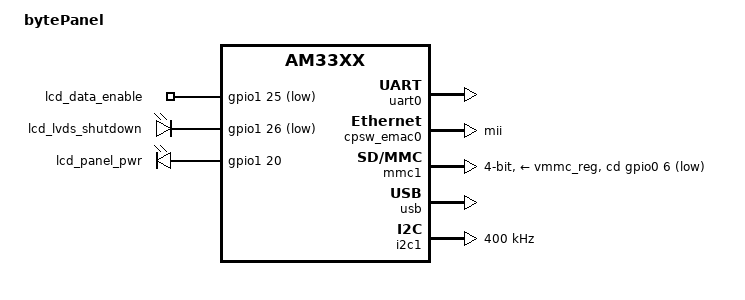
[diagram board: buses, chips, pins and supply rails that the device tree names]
/*
 * Copyright (C) 2015 Bytes at Work - http://www.bytesatwork.ch
 *
 * This program is free software; you can redistribute it and/or modify
 * it under the terms of the GNU General Public License version 2 as
 * published by the Free Software Foundation.
 */

#include "byteengine-m2.dtsi"

/ {
	model = "bytePanel";
	compatible = "batw,bytepanel", "batw,m2", "ti,am33xx";

	// ---- Backlight for all displays on X11, X12, X13 ----
	backlight: backlight {
		compatible = "pwm-backlight";
		status = "disabled";
		pwms = <&ecap0 0 50000 0>;
		brightness-levels = <0 4 8 16 32 64 128 255>;
		default-brightness-level = <6>;
		enable-gpios = <&gpio1 27 0>;
	};

	// FIXME: set pins not as LED; use a muxer or so
	dispconf {
		compatible = "gpio-leds";
		status = "okay";
		pinctrl-names = "default";
		pinctrl-0 = <&display_pins>;

		lcd_data_enable: lcd_data_enable {
			gpios = <&gpio1 25 1>;
			default-state = "off";
		};

		lcd_lvds_shutdown: lcd_lvds_shutdown {
			gpios = <&gpio1 26 1>;
			default-state = "on";
		};

		lcd_panel_pwr: lcd_panel_pwr {
			gpios = <&gpio1 20 0>;
			default-state = "on";
		};
	};
};

&am33xx_pinmux {
	pinctrl-names = "default";
	pinctrl-0 = <&defpins_pins>;

	// ---- TODO implement all systems and remove those pins ----
	defpins_pins: pinmux_defpins_pins {
		pinctrl-single,pins = <
			PIN_SPI0_CS0		0
			PIN_SPI0_D1		0
			PIN_UART1_TXD		0
			PIN_UART1_RXD		0
		>;
	};

	// ---- UART0 on X3 ----
	uart0_pins: pinmux_uart0_pins {
		pinctrl-single,pins = <
			PIN_UART0_RXD	(MUX_MODE0 | PIN_INPUT_PULLUP)
			PIN_UART0_TXD	(MUX_MODE0 | PIN_OUTPUT_PULLDOWN)
		>;
	};

	// ---- ETHERNET on X8 ----
	cpsw_default: pinmux_cpsw_default {
		pinctrl-single,pins = <
			PIN_MII1_RX_ER	(MUX_MODE0 | PIN_INPUT_PULLDOWN)
			PIN_MII1_RX_DV	(MUX_MODE0 | PIN_INPUT_PULLDOWN)
			PIN_MII1_COL	(MUX_MODE0 | PIN_INPUT_PULLDOWN)
			PIN_MII1_CRS	(MUX_MODE0 | PIN_INPUT_PULLDOWN)
			PIN_MII1_RX_CLK	(MUX_MODE0 | PIN_INPUT_PULLDOWN)
			PIN_MII1_RXD0	(MUX_MODE0 | PIN_INPUT_PULLDOWN)
			PIN_MII1_RXD1	(MUX_MODE0 | PIN_INPUT_PULLDOWN)
			PIN_MII1_RXD2	(MUX_MODE0 | PIN_INPUT_PULLDOWN)
			PIN_MII1_RXD3	(MUX_MODE0 | PIN_INPUT_PULLDOWN)
			PIN_MII1_TX_CLK	(MUX_MODE0 | PIN_INPUT_PULLDOWN)
			PIN_MII1_TX_EN	(MUX_MODE0 | PIN_OUTPUT)
			PIN_MII1_TXD0	(MUX_MODE0 | PIN_OUTPUT)
			PIN_MII1_TXD1	(MUX_MODE0 | PIN_OUTPUT)
			PIN_MII1_TXD2	(MUX_MODE0 | PIN_OUTPUT)
			PIN_MII1_TXD3	(MUX_MODE0 | PIN_OUTPUT)
		>;
	};

	davinci_mdio_default: pinmux_davinci_mdio_default {
		pinctrl-single,pins = <
			PIN_MDIO	(MUX_MODE0 | PIN_INPUT_PULLUP)
			PIN_MDC		(MUX_MODE0 | PIN_OUTPUT_PULLUP)
		>;
	};

	// ---- MMC on X9 ----
	mmc1_common: pinmux_mmc0_common {
		pinctrl-single,pins = <
			PIN_MMC0_DAT0	(MUX_MODE0 | PIN_INPUT_PULLUP)
			PIN_MMC0_DAT1	(MUX_MODE0 | PIN_INPUT_PULLUP)
			PIN_MMC0_DAT2	(MUX_MODE0 | PIN_INPUT_PULLUP)
			PIN_MMC0_DAT3	(MUX_MODE0 | PIN_INPUT_PULLUP)
			PIN_MMC0_CMD	(MUX_MODE0 | PIN_INPUT_PULLUP)
			PIN_MMC0_CLK	(MUX_MODE0 | PIN_INPUT_PULLUP)
		>;
	};

	mmc1_cd: pinmux_mmc0_cd {
		pinctrl-single,pins = <
			PIN_SPI0_CS1	(MUX_MODE7 | PIN_INPUT_PULLUP)		// gpio0_6
		>;
	};

	// ---- USB on X7 ----
	usb_pins: pinmux_usb_pins {
		pinctrl-single,pins = <
			PIN_USB0_DRVVBUS        (MUX_MODE0 | PIN_OUTPUT)
			PIN_USB1_DRVVBUS        (MUX_MODE0 | PIN_OUTPUT)
		>;
	};

	// ---- Backlight for all displays on X11, X12, X13 ----
	ecap0_pins: pinmux_ecap0_pins {
		pinctrl-single,pins = <
			PIN_ECAP0_IN_PWM0_OUT	(MUX_MODE0 | PIN_OUTPUT)
			PIN_GPMC_A11		(MUX_MODE7 | PIN_OUTPUT)	// gpio1_27
		>;
	};

	// ---- Display configuration X11, X13 ----
	display_pins: pinmux_display_pins {
		pinctrl-single,pins = <
			PIN_GPMC_A4		(MUX_MODE7 | PIN_OUTPUT)	// gpio1_20
			PIN_GPMC_A9		(MUX_MODE7 | PIN_OUTPUT)	// gpio1_25
			PIN_GPMC_A10		(MUX_MODE7 | PIN_OUTPUT)	// gpio1_26
		>;
	};

	// ---- Onboard audio and external touch  ----
	i2c1_pins: pinmux_i2c1_pins {
		pinctrl-single,pins = <
			PIN_UART0_CTSN		(MUX_MODE3 | PIN_INPUT_PULLUP | SLEWCTRL_FAST)	// I2C1_SDA
			PIN_UART0_RTSN		(MUX_MODE3 | PIN_INPUT_PULLUP | SLEWCTRL_FAST)	// I2C1_SCL
		>;
	};
};

// ---- UART0 on X3 ----
&uart0 {
	pinctrl-names = "default";
	pinctrl-0 = <&uart0_pins>;

	status = "okay";
};

// ---- ETHERNET on X8 ----
&davinci_mdio {
	pinctrl-names = "default";
	pinctrl-0 = <&davinci_mdio_default>;
};

&cpsw_emac0 {
	phy_id = <&davinci_mdio>, <0>;
	phy-mode = "mii";
};

&mac {
	pinctrl-names = "default";
	pinctrl-0 = <&cpsw_default>;

	slaves = <1>;
	active_slave = <0>;
};

// ---- MMC on X9 ----
&mmc1 {
	status = "okay";
	vmmc-supply = <&vmmc_reg>;
	bus-width = <4>;
	pinctrl-names = "default";
	pinctrl-0 = <&mmc1_cd>;
	cd-gpios = <&gpio0 6 GPIO_ACTIVE_HIGH>;
	cd-inverted;
};

// ---- USB on X7 ----
&usb {
	pinctrl-names = "default";
	pinctrl-0 = <&usb_pins>;

	status = "okay";

	control@44e10620 {
		status = "okay";
	};

	usb-phy@47401300 {
		status = "okay";
	};

	usb@47401000 {
		status = "okay";
		dr_mode = "host";
	};

	usb-phy@47401b00 {
		status = "okay";
	};

	usb@47401800 {
		status = "okay";
		dr_mode = "host";
	};

	dma-controller@47402000  {
		status = "okay";
	};
};

// ---- Backlight for all displays on X11, X12, X13 ----
&ecap0 {
	pinctrl-names = "default";
	pinctrl-0 = <&ecap0_pins>;
};

// ---- Onboard audio and external touch ----
&i2c1 {
	pinctrl-names = "default";
	pinctrl-0 = <&i2c1_pins>;

	status = "okay";
	clock-frequency = <400000>;
};
